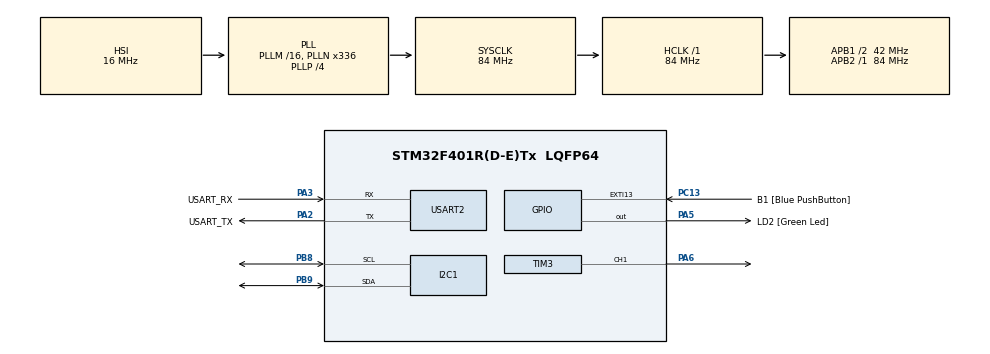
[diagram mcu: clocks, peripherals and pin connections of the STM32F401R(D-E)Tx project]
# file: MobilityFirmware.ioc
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FREERTOS.Queues01=SensorDataQueue,16,128,1,Dynamic,NULL,NULL
FREERTOS.Tasks01=SensorTaskHandl,40,512,StartSensorTask,Default,NULL,Dynamic,NULL,NULL;UartTask,24,512,StartUartTask,Default,NULL,Dynamic,NULL,NULL
FREERTOS.configUSE_NEWLIB_REENTRANT=1
Mcu.Family=STM32F4
Mcu.Name=STM32F401R(D-E)Tx
Mcu.Package=LQFP64
NVIC.PriorityGroup=NVIC_PRIORITYGROUP_4
NVIC.TIM3_IRQn=true\:5\:0\:false\:false\:true\:true\:true\:true\:true
NVIC.TIM4_IRQn=true\:15\:0\:false\:false\:true\:false\:false\:true\:true
NVIC.TimeBase=TIM4_IRQn
NVIC.TimeBaseIP=TIM4
NVIC.USART2_IRQn=true\:5\:0\:false\:false\:true\:true\:true\:true\:true
PA13.GPIO_Label=TMS
PA13.Mode=Trace_Asynchronous_SW
PA13.Signal=SYS_JTMS-SWDIO
PA14.GPIO_Label=TCK
PA14.Mode=Trace_Asynchronous_SW
PA14.Signal=SYS_JTCK-SWCLK
PA2.GPIO_Label=USART_TX
PA2.GPIO_Mode=GPIO_MODE_AF_PP
PA2.GPIO_PuPd=GPIO_NOPULL
PA2.GPIO_Speed=GPIO_SPEED_FREQ_LOW
PA2.Mode=Asynchronous
PA2.Signal=USART2_TX
PA3.GPIO_Label=USART_RX
PA3.GPIO_Mode=GPIO_MODE_AF_PP
PA3.GPIO_PuPd=GPIO_NOPULL
PA3.GPIO_Speed=GPIO_SPEED_FREQ_LOW
PA3.Mode=Asynchronous
PA3.Signal=USART2_RX
PA5.GPIO_Label=LD2 [Green Led]
PA5.GPIO_Mode=GPIO_MODE_OUTPUT_PP
PA5.GPIO_PuPd=GPIO_NOPULL
PA5.GPIO_Speed=GPIO_SPEED_FREQ_LOW
PA5.Signal=GPIO_Output
PA6.Signal=S_TIM3_CH1
PB3.GPIO_Label=SWO
PB3.Mode=Trace_Asynchronous_SW
PB3.Signal=SYS_JTDO-SWO
PB8.Mode=I2C
PB8.Signal=I2C1_SCL
PB9.Mode=I2C
PB9.Signal=I2C1_SDA
PC13-ANTI_TAMP.GPIO_Label=B1 [Blue PushButton]
PC13-ANTI_TAMP.GPIO_ModeDefaultEXTI=GPIO_MODE_IT_FALLING
PC13-ANTI_TAMP.GPIO_PuPd=GPIO_NOPULL
PC13-ANTI_TAMP.Signal=GPXTI13
PC14-OSC32_IN.Mode=LSE-External-Oscillator
PC14-OSC32_IN.Signal=RCC_OSC32_IN
PC15-OSC32_OUT.Mode=LSE-External-Oscillator
PC15-OSC32_OUT.Signal=RCC_OSC32_OUT
PH0\ -\ OSC_IN.Mode=HSE-External-Clock-Source
PH0\ -\ OSC_IN.Signal=RCC_OSC_IN
PH1\ -\ OSC_OUT.Mode=HSE-External-Clock-Source
PH1\ -\ OSC_OUT.Signal=RCC_OSC_OUT
ProjectManager.HeapSize=0x200
ProjectManager.StackSize=0x400
ProjectManager.TargetToolchain=STM32CubeIDE
RCC.48MHZClocksFreq_Value=48000000
RCC.AHBFreq_Value=84000000
RCC.APB1CLKDivider=RCC_HCLK_DIV2
RCC.APB1Freq_Value=42000000
RCC.APB1TimFreq_Value=84000000
RCC.APB2Freq_Value=84000000
RCC.APB2TimFreq_Value=84000000
RCC.CortexFreq_Value=84000000
RCC.HCLKFreq_Value=84000000
RCC.HSE_VALUE=8000000
RCC.HSI_VALUE=16000000
RCC.PLLN=336
RCC.PLLP=RCC_PLLP_DIV4
RCC.PLLQ=7
RCC.SYSCLKFreq_VALUE=84000000
RCC.SYSCLKSource=RCC_SYSCLKSOURCE_PLLCLK
RCC.VCOOutputFreq_Value=336000000
SH.S_TIM3_CH1.0=TIM3_CH1,PWM Generation1 CH1
TIM3.AutoReloadPreload=TIM_AUTORELOAD_PRELOAD_ENABLE
TIM3.Channel-PWM\ Generation1\ CH1=TIM_CHANNEL_1
TIM3.Period=20000-1
TIM3.Prescaler=84-1
USART2.VirtualMode=VM_ASYNC
VP_FREERTOS_VS_CMSIS_V2.Mode=CMSIS_V2
VP_SYS_VS_tim4.Mode=TIM4
VP_TIM3_VS_ClockSourceINT.Mode=Internal
board=NUCLEO-F401RE

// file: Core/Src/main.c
/* USER CODE BEGIN Header */
/**
 ******************************************************************************
 * @file           : main.c
 * @brief          : Main program body
 ******************************************************************************
 * @attention
 *
 * Copyright (c) 2026 STMicroelectronics.
 * All rights reserved.
 *
 * This software is licensed under terms that can be found in the LICENSE file
 * in the root directory of this software component.
 * If no LICENSE file comes with this software, it is provided AS-IS.
 *
 ******************************************************************************
 */
/* USER CODE END Header */
#include "main.h"
#include "cmsis_os.h"
#include "i2c.h"
#include "tim.h"
#include "usart.h"
#include "gpio.h"

/* USER CODE BEGIN Includes */
#include <string.h>
#include <stdio.h>
#include "mpu6050.h"
#include <stdlib.h>
/* USER CODE END Includes */

/* USER CODE BEGIN PV */
SystemState_t current_state = STATE_INIT; // 現在の状態を保持
char uart_buf[100]; //　UART送信用バッファ
volatile uint8_t timer_10ms_flag;
MPU6050_Data_t global_sensor_data = { 0 };

// PIDゲイン
volatile float Kp = 110.0f;
volatile float Ki = 5.0f;
volatile float Kd = -2.0f;

// UART受信割込み用
#define RX_BUFFER_SIZE 32
uint8_t rx_data;				// 1文字受信用のバッファ
char rx_buffer[RX_BUFFER_SIZE];	// 文字列を結合するバッファ
uint8_t rx_index = 0;			// バッファの現在位置

volatile float target_pitch = 0;
/* USER CODE END PV */

void SystemClock_Config(void);
void MX_FREERTOS_Init(void);

int main(void) {

	/* MCU Configuration--------------------------------------------------------*/

	/* Reset of all peripherals, Initializes the Flash interface and the Systick. */
	HAL_Init();

	/* Configure the system clock */
	SystemClock_Config();

	/* Initialize all configured peripherals */
	MX_GPIO_Init();
	MX_I2C1_Init();
	MX_USART2_UART_Init();
	MX_TIM3_Init();
	/* USER CODE BEGIN 2 */

	// ==========================================
	// RTOS起動前の初期化・キャリブレーション処理
	// ==========================================
	sprintf(uart_buf, "\r\n--- MobilityDynamicsSystem Booting ---\r\n");
	HAL_UART_Transmit(&huart2, (uint8_t*) uart_buf, strlen(uart_buf), 100);

	if (MPU6050_Init(&hi2c1) == HAL_OK) {
		sprintf(uart_buf, "Calibrating Gyro... Please keep it still.\r\n");
		HAL_UART_Transmit(&huart2, (uint8_t*) uart_buf, strlen(uart_buf), HAL_MAX_DELAY);

		// キャブレーション
		MPU6050_Calibrate(&hi2c1, &global_sensor_data);

		sprintf(uart_buf, "Calibration Done! Offset X:%.2f, Y:%.2f\r\n", global_sensor_data.gyro_x_offset, global_sensor_data.gyro_y_offset);
		HAL_UART_Transmit(&huart2, (uint8_t*) uart_buf, strlen(uart_buf), 100);

		current_state = STATE_NORMAL;
	} else {
		sprintf(uart_buf, "MPU-6050 Init Failed! Moving to Error State.\r\n");
		HAL_UART_Transmit(&huart2, (uint8_t*) uart_buf, strlen(uart_buf), 100);
		current_state = STATE_ERROR;
	}

	// PWM出力開始
	HAL_TIM_PWM_Start(&htim3, TIM_CHANNEL_1);

	// サーボを0度（中央：　1500μs）に設定するテスト
	__HAL_TIM_SET_COMPARE(&htim3, TIM_CHANNEL_1, 1520);
	HAL_Delay(1000);

	// ここにUART受信割込み開始処理を追加
	HAL_UART_Receive_IT(&huart2, &rx_data, 1);
	/* USER CODE END 2 */

	/* Init scheduler */
	osKernelInitialize(); /* Call init function for freertos objects (in cmsis_os2.c) */
	MX_FREERTOS_Init();

	/* Start scheduler */
	osKernelStart();

	/* We should never get here as control is now taken by the scheduler */

	/* Infinite loop */
	while (1) {

	}
}

void SystemClock_Config(void) {
	RCC_OscInitTypeDef RCC_OscInitStruct = { 0 };
	RCC_ClkInitTypeDef RCC_ClkInitStruct = { 0 };

	/** Configure the main internal regulator output voltage
	 */
	__HAL_RCC_PWR_CLK_ENABLE();
	__HAL_PWR_VOLTAGESCALING_CONFIG(PWR_REGULATOR_VOLTAGE_SCALE2);

	/** Initializes the RCC Oscillators according to the specified parameters
	 * in the RCC_OscInitTypeDef structure.
	 */
	RCC_OscInitStruct.OscillatorType = RCC_OSCILLATORTYPE_HSI;
	RCC_OscInitStruct.HSIState = RCC_HSI_ON;
	RCC_OscInitStruct.HSICalibrationValue = RCC_HSICALIBRATION_DEFAULT;
	RCC_OscInitStruct.PLL.PLLState = RCC_PLL_ON;
	RCC_OscInitStruct.PLL.PLLSource = RCC_PLLSOURCE_HSI;
	RCC_OscInitStruct.PLL.PLLM = 16;
	RCC_OscInitStruct.PLL.PLLN = 336;
	RCC_OscInitStruct.PLL.PLLP = RCC_PLLP_DIV4;
	RCC_OscInitStruct.PLL.PLLQ = 7;
	if (HAL_RCC_OscConfig(&RCC_OscInitStruct) != HAL_OK) {
		Error_Handler();
	}

	/** Initializes the CPU, AHB and APB buses clocks
	 */
	RCC_ClkInitStruct.ClockType = RCC_CLOCKTYPE_HCLK | RCC_CLOCKTYPE_SYSCLK | RCC_CLOCKTYPE_PCLK1 | RCC_CLOCKTYPE_PCLK2;
	RCC_ClkInitStruct.SYSCLKSource = RCC_SYSCLKSOURCE_PLLCLK;
	RCC_ClkInitStruct.AHBCLKDivider = RCC_SYSCLK_DIV1;
	RCC_ClkInitStruct.APB1CLKDivider = RCC_HCLK_DIV2;
	RCC_ClkInitStruct.APB2CLKDivider = RCC_HCLK_DIV1;

	if (HAL_RCC_ClockConfig(&RCC_ClkInitStruct, FLASH_LATENCY_2) != HAL_OK) {
		Error_Handler();
	}
}

/* USER CODE BEGIN 4 */
void ParseCommand(char *cmd) {
	//緊急停止コマンドの処理
	if (strncmp(cmd, "STOP", 4) == 0) {

	}
	// Kpゲインの書き換え
	else if (strncmp(cmd, "KP:", 3) == 0) {
		Kp = atof(cmd + 3);
	}
	// KIゲインの書き換え (例: "KI:0.5")
	else if (strncmp(cmd, "KI:", 3) == 0) {
		Ki = atof(cmd + 3);
	}
	// KDゲインの書き換え (例: "KD:1.2")
	else if (strncmp(cmd, "KD:", 3) == 0) {
		Kd = atof(cmd + 3);
	}
	// 目標角度の書き換え
	else if (strncmp(cmd, "TARGET:", 7) == 0) {
		target_pitch = atof(cmd + 7);
	}
}

// UART受信完了割込みコールバック
void HAL_UART_RxCpltCallback(UART_HandleTypeDef *huart) {
	if (huart->Instance == USART2) {
		// 改行コードが来たらコマンド解析を実行
		if (rx_data == '\n' || rx_data == '\r') {
			rx_buffer[rx_index] = '\0'; //文字列の終端処理
			if (rx_index > 0) {
				ParseCommand(rx_buffer);
			}
			rx_index = 0; // バッファ位置をリセット
		} else {
			// バッファオーバーフローを防ぎつつ文字を蓄積
			if (rx_index < RX_BUFFER_SIZE - 1) {
				rx_buffer[rx_index++] = rx_data;
			} else {
				rx_index = 0; //異常に長い文字列は破棄
			}
		}
		// 次の１文字受信割込みを再開
		HAL_UART_Receive_IT(&huart2, &rx_data, 1);
	}
}

/* USER CODE END 4 */

void HAL_TIM_PeriodElapsedCallback(TIM_HandleTypeDef *htim) {
	if (htim->Instance == TIM4) {
		HAL_IncTick();
	}
}

void Error_Handler(void) {
	__disable_irq();
	while (1) {
	}
}

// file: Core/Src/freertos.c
/* USER CODE BEGIN Header */
/**
 ******************************************************************************
 * File Name          : freertos.c
 * Description        : Code for freertos applications
 ******************************************************************************
 * @attention
 *
 * Copyright (c) 2026 STMicroelectronics.
 * All rights reserved.
 *
 * This software is licensed under terms that can be found in the LICENSE file
 * in the root directory of this software component.
 * If no LICENSE file comes with this software, it is provided AS-IS.
 *
 ******************************************************************************
 */
/* USER CODE END Header */

#include "FreeRTOS.h"
#include "task.h"
#include "main.h"
#include "cmsis_os.h"

/* USER CODE BEGIN Includes */
#include "mpu6050.h"
#include "i2c.h"
#include "usart.h"
#include <stdio.h>
#include <string.h>
#include  "tim.h"
#include <math.h>
/* USER CODE END Includes */

/* USER CODE BEGIN PTD */

typedef struct {
	float pitch;
	float error;
	float speed;
	float gyro_y;
	int pulse_width;
	int current_pwm;
} TelemetryData_t;

/* USER CODE END PTD */

/* USER CODE BEGIN Variables */
// main.cのグローバル変数を参照する
extern volatile float Kp;
extern volatile float Ki;
extern volatile float Kd;
extern volatile float target_pitch;
extern MPU6050_Data_t global_sensor_data;
/* USER CODE END Variables */
/* Definitions for SensorTaskHandl */
osThreadId_t SensorTaskHandlHandle;
const osThreadAttr_t SensorTaskHandl_attributes = { .name = "SensorTaskHandl", .stack_size = 512 * 4, .priority =
		(osPriority_t) osPriorityHigh, };
/* Definitions for UartTask */
osThreadId_t UartTaskHandle;
const osThreadAttr_t UartTask_attributes = { .name = "UartTask", .stack_size = 512 * 4, .priority =
		(osPriority_t) osPriorityNormal, };
/* Definitions for SensorDataQueue */
osMessageQueueId_t SensorDataQueueHandle;
const osMessageQueueAttr_t SensorDataQueue_attributes = { .name = "SensorDataQueue" };

/* USER CODE BEGIN FunctionPrototypes */
static float clip_float(float val, float min, float max);
static float caluculate_control_pwm(float target, float current_pitch, float current_velocity, float prev_pwm);
static float caluculate_control_pwm_velocity(float target, float current_pitch, float current_velocity, float current_pwm);

//static float CalculateControlSpeed(float error, float derivative) {
//	float speed = 0.0f;
//	float error_abs = (error > 0.0f) ? error : -error;
//
//	if (error_abs > 10.0f) {
//		// 1.大ズレ：バンバン制御
//		speed = (error > 0) ? 3000.0f : -3000.0f;
//	} else if (error_abs > 4.0f) {
//		// 2.接近フェーズ（4度〜10度）
//		// 摩擦の影響が少ない領域なので、やや強めのKpで一気に寄せる
//		speed = (Kp * error) + (Kd* derivative);
//	} else if (error_abs > 2.0f) {
//		// 3.最終着地フェーズ（例: 2.0度〜10.0度）
//		// 不感帯(2.0度)を「はみ出した分」だけを抽出する
//		float active_error = (error > 0.0f) ? (error - 2.0f) : (error + 2.0f);
//		speed = (Kp * active_error) + (Kd * derivative);
//	} else {
//		// ジンバルが動いている時（ノイズ以上の角速度がある時）はブレーキ(Kd)を優先
//		if (derivative > 5.0f || derivative < -5.0f) {
//			speed = Kd * derivative;
//		} else {
//			speed = Ki * error;
//		}
//	}
//	return speed;
//}

/* USER CODE END FunctionPrototypes */

void StartSensorTask(void *argument);
void StartUartTask(void *argument);

void MX_FREERTOS_Init(void); /* (MISRA C 2004 rule 8.1) */

void MX_FREERTOS_Init(void) {

	/* Create the queue(s) */
	/* creation of SensorDataQueue */
	SensorDataQueueHandle = osMessageQueueNew(16, 128, &SensorDataQueue_attributes);

	/* Create the thread(s) */
	/* creation of SensorTaskHandl */
	SensorTaskHandlHandle = osThreadNew(StartSensorTask, NULL, &SensorTaskHandl_attributes);

	/* creation of UartTask */
	UartTaskHandle = osThreadNew(StartUartTask, NULL, &UartTask_attributes);

}

void StartSensorTask(void *argument) {
	/* USER CODE BEGIN StartSensorTask */
	/* Infinite loop */
	// {0}で空にするのではなく、キャリブレーション済みのデータを丸ごとコピーして引き継ぐ！
	MPU6050_Data_t local_sensor_data = global_sensor_data;
	uint32_t tick_delay = 10;
	uint32_t tick_update = osKernelGetTickCount();
	TelemetryData_t tx_data;

	for (;;) {

		if (current_state == STATE_NORMAL) {
			if (MPU6050_Read_Physical(&hi2c1, &local_sensor_data) == HAL_OK) {
				MPU6050_Calculate_Attitude(&local_sensor_data);

				// 偏差（エラー）の計算
				float error = target_pitch - local_sensor_data.comp_pitch;
				float derivative = local_sensor_data.gyro_y_dps;

				// StartSensorTask のループ外で定義
				static float current_pwm = 1520.0f; // 前回のPWMを保持する変数
				current_pwm =
						caluculate_control_pwm_velocity(target_pitch, local_sensor_data.comp_pitch, derivative, current_pwm);

//				// 静的変数（メモリ）として現在のPWMを保持し、変化量を足し込み続ける
//				static float current_pwm = 1520.0f;
//				current_pwm += speed * 0.01f; // DT(0.01秒)を掛けて足し込む
				float speed = 0.0f;
//				// サーボの可動範囲(500μs~2400μs)を超えないようにリミット
//				if (current_pwm > 2400.0f)
//					current_pwm = 2400.0f;
//				if (current_pwm < 600.0f)
//					current_pwm = 600.0f;

				int pulse_width = (int) current_pwm;

				// --- フェールセーフ処理：NORMALの時のみPWMを更新 ---
				if (current_state == STATE_NORMAL) {
					__HAL_TIM_SET_COMPARE(&htim3, TIM_CHANNEL_1, pulse_width);
				}

				tx_data.current_pwm = current_pwm;
				tx_data.pulse_width = pulse_width;
				tx_data.error = error;
				tx_data.speed = speed;
				tx_data.gyro_y = local_sensor_data.gyro_y_dps;
				tx_data.pitch = local_sensor_data.comp_pitch;

				// 取得したデータをQueueに送信
				osMessageQueuePut(SensorDataQueueHandle, &tx_data, 0, 0);
			} else {
				current_state = STATE_ERROR;
			}
		} else {
			// エラー時のフェールセーフ処理
			current_state = STATE_ERROR; // 状態をエラーに変更
			HAL_TIM_PWM_Stop(&htim3, TIM_CHANNEL_1); //PWM出力停止
		}
		// 次の10ms周期までタスクを正確にブロックする
		tick_update += tick_delay;
		osDelayUntil(tick_update);
	}
	/* USER CODE END StartSensorTask */
}

void StartUartTask(void *argument) {
	/* USER CODE BEGIN StartUartTask */
	/* Infinite loop */
	/* USER CODE BEGIN StartUartTask */
	char uart_buf[120];
	TelemetryData_t rx_data;

	for (;;) {
		// Queueにデータが来るまで無限に待機 (CPUを休ませる)
		if (osMessageQueueGet(SensorDataQueueHandle, &rx_data, NULL, osWaitForever) == osOK) {

			// UART送信
//			sprintf(uart_buf, "$MPU,%.2f,%.2f,%.2f,%.2f,%.2f,%.2f,%.2f,%.2f,%.2f,%.2f\r\n", received_data.accel_x_g, received_data.accel_y_g, received_data.accel_z_g, received_data.gyro_x_dps, received_data.gyro_y_dps, received_data.gyro_z_dps, received_data.acc_only_roll, received_data.gyro_only_roll, received_data.comp_roll, received_data.comp_pitch);

			// Debug:UART送信
			sprintf(uart_buf, "DEBUG,Kp:%.2f,Kd:%.2f,Pitch:%.2f,Err:%.2f,Gyro:%.2f,Spd:%.2f,PWM:%d\r\n", Kp, Kd, rx_data.pitch, rx_data.error, rx_data.gyro_y, rx_data.speed, rx_data.pulse_width);

			HAL_UART_Transmit(&huart2, (uint8_t*) uart_buf, strlen(uart_buf), 20);
		}
	}
	/* USER CODE END StartUartTask */
}

/* USER CODE BEGIN Application */

static inline float clip_float(float val, float min, float max) {
	val = ((val) < (min) ? (min) : ((val) > (max) ? (max) : (val)));
	return val;
}

static float caluculate_control_pwm_velocity(float target, float current_pitch, float current_velocity, float current_pwm) {
	float error = target - current_pitch;

	// =======================================================
	// ★ ロバスト性向上の鍵：「未来の誤差」を予測する
	// =======================================================
	// 速度(deg/s) × 想定される遅延時間(s) = 遅延の間に進んでしまう角度
	// ※ Pythonのシミュレータで設定した「dead_time_steps」に相当する時間を入れます。
	// 例: 50ms (0.05s) の遅延を見込む場合
	const float PREDICT_TIME = 0.02f;

	// 現在の速度を加味した「少し先の未来のエラー」
	float future_error = error - (current_velocity * PREDICT_TIME);
	float future_error_abs = (future_error > 0.0f) ? future_error : -future_error;

	float speed = 0.0f;

	// =======================================================
	// ゾーン判定には「未来の誤差（future_error_abs）」を使う！
	// =======================================================
	if (future_error_abs > 10.0f) {
		// 1. 大ズレ：バンバン制御
		speed = (error > 0.0f) ? 3000.0f : -3000.0f;

	} else if (future_error_abs > 4.0f) {
		// 2. 接近フェーズ
		// ※ 出力計算自体には、実際の誤差(error)を使います
		speed = (Kp * error) + (Kd * current_velocity);

	} else if (future_error_abs > 2.0f) {
		// 3. 最終着地フェーズ
		float active_error = (error > 0.0f) ? (error - 2.0f) : (error + 2.0f);
		speed = (Kp * active_error) + (Kd * current_velocity);

	} else {
		// 4. 不感帯
		if (current_velocity > 5.0f || current_velocity < -5.0f) {
			speed = Kd * current_velocity;
		} else {
			speed = Ki * error;
		}
	}

	// 最終スピードリミット
	speed = clip_float(speed, -4000.0f, 4000.0f);

	// PWMの足し込み（45度でも負けない速度型の強み！
	float new_pwm = current_pwm + (speed * DT);

	return clip_float(new_pwm, 600.0f, 2400.0f);
}
/* USER CODE END Application */
